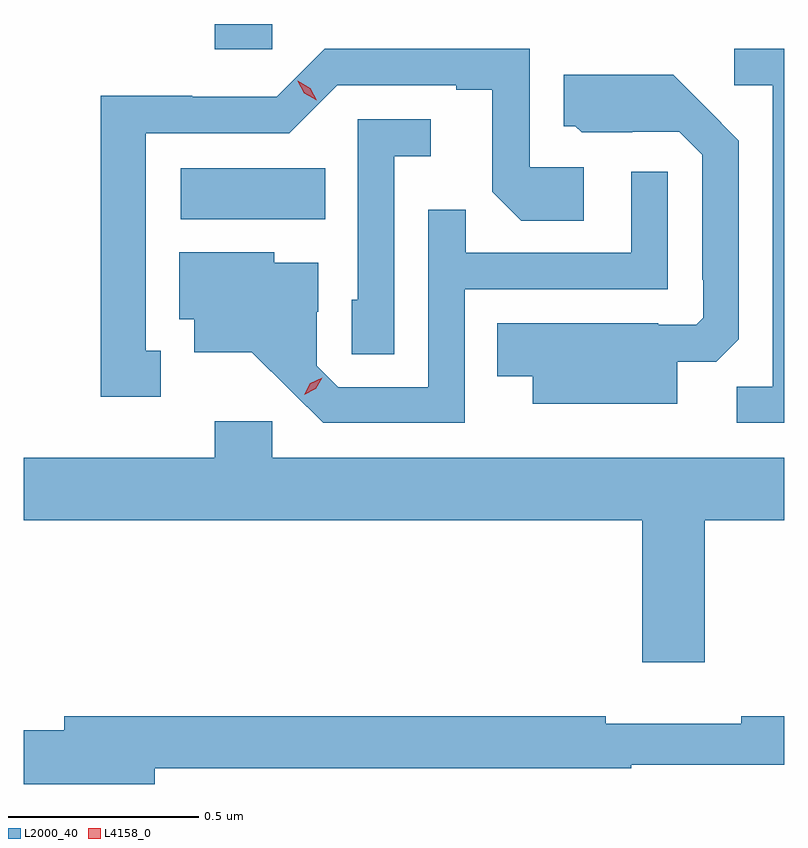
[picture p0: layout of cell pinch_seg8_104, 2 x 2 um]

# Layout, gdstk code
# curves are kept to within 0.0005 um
import gdstk
lib = gdstk.Library(unit=1e-6, precision=1e-09)
def R(c, l, rs):  # rectangles x0, y0, x1, y1
    for r in rs: c.add(gdstk.rectangle(r[:2], r[2:], *l))
def P(c, l, *ps):  # polygons
    for p in ps: c.add(gdstk.Polygon(p, *l))
L2000_40 = (2000, 40)
L4158_0 = (4158, 0)

pinch_seg8_104 = lib.new_cell('pinch_seg8_104')
R(pinch_seg8_104, L2000_40, [(1038.918,1106.636,1039.298,1106.77), (1039.007,1107.083,1039.158,1107.149)])
P(pinch_seg8_104, L2000_40, [(1040.505,1107.084),(1040.373,1107.084),(1040.373,1106.988),(1040.475,1106.988),(1040.475,1106.195),(1040.38,1106.195),(1040.38,1106.1),(1040.505,1106.1)],
  [(1038.865,1106.289),(1038.826,1106.289),(1038.826,1106.862),(1039.203,1106.862),(1039.329,1106.988),(1039.643,1106.988),(1039.643,1106.976),(1039.737,1106.976),(1039.737,1106.708),(1039.813,1106.632),(1039.978,1106.632),(1039.978,1106.772),(1039.836,1106.772),(1039.836,1107.084),(1039.296,1107.084),(1039.17,1106.958),(1038.948,1106.958),(1038.948,1106.96),(1038.708,1106.96),(1038.708,1106.169),(1038.865,1106.169)],
  [(1040.224,1106.261),(1040.326,1106.261),(1040.385,1106.32),(1040.385,1106.842),(1040.213,1107.016),(1039.925,1107.016),(1039.925,1106.88),(1039.956,1106.88),(1039.972,1106.864),(1040.106,1106.864),(1040.106,1106.865),(1040.229,1106.865),(1040.289,1106.805),(1040.289,1106.476),(1040.292,1106.476),(1040.292,1106.376),(1040.274,1106.358),(1040.174,1106.358),(1040.174,1106.362),(1039.75,1106.362),(1039.75,1106.222),(1039.844,1106.222),(1039.844,1106.15),(1040.224,1106.15)],
  [(1039.479,1106.801),(1039.576,1106.801),(1039.576,1106.898),(1039.383,1106.898),(1039.383,1106.424),(1039.368,1106.424),(1039.368,1106.281),(1039.479,1106.281)],
  [(1039.665,1106.451),(1040.199,1106.451),(1040.199,1106.761),(1040.103,1106.761),(1040.103,1106.547),(1039.667,1106.547),(1039.667,1106.66),(1039.569,1106.66),(1039.569,1106.193),(1039.332,1106.193),(1039.275,1106.25),(1039.275,1106.392),(1039.279,1106.392),(1039.279,1106.521),(1039.164,1106.521),(1039.164,1106.548),(1038.914,1106.548),(1038.914,1106.372),(1038.953,1106.372),(1038.953,1106.285),(1039.105,1106.285),(1039.292,1106.1),(1039.665,1106.1)],
  [(1040.296,1105.844),(1040.505,1105.844),(1040.505,1106.008),(1039.158,1106.008),(1039.158,1106.104),(1039.007,1106.104),(1039.007,1106.008),(1038.505,1106.008),(1038.505,1105.844),(1040.132,1105.844),(1040.132,1105.47),(1040.296,1105.47)],
  [(1038.85,1105.192),(1040.103,1105.192),(1040.103,1105.2),(1040.505,1105.2),(1040.505,1105.328),(1040.392,1105.328),(1040.392,1105.309),(1040.036,1105.309),(1040.036,1105.328),(1038.611,1105.328),(1038.611,1105.292),(1038.505,1105.292),(1038.505,1105.15),(1038.85,1105.15)])
P(pinch_seg8_104, L4158_0, [(1039.242,1106.174),(1039.242,1106.174),(1039.259,1106.204),(1039.29,1106.218),(1039.29,1106.218),(1039.29,1106.218),(1039.273,1106.189),(1039.242,1106.174)],
  [(1039.275,1106.948),(1039.243,1106.967),(1039.226,1106.999),(1039.226,1107),(1039.226,1107),(1039.258,1106.98),(1039.275,1106.948),(1039.275,1106.948)])

lib.write_gds('pinch_seg8_104.gds')
